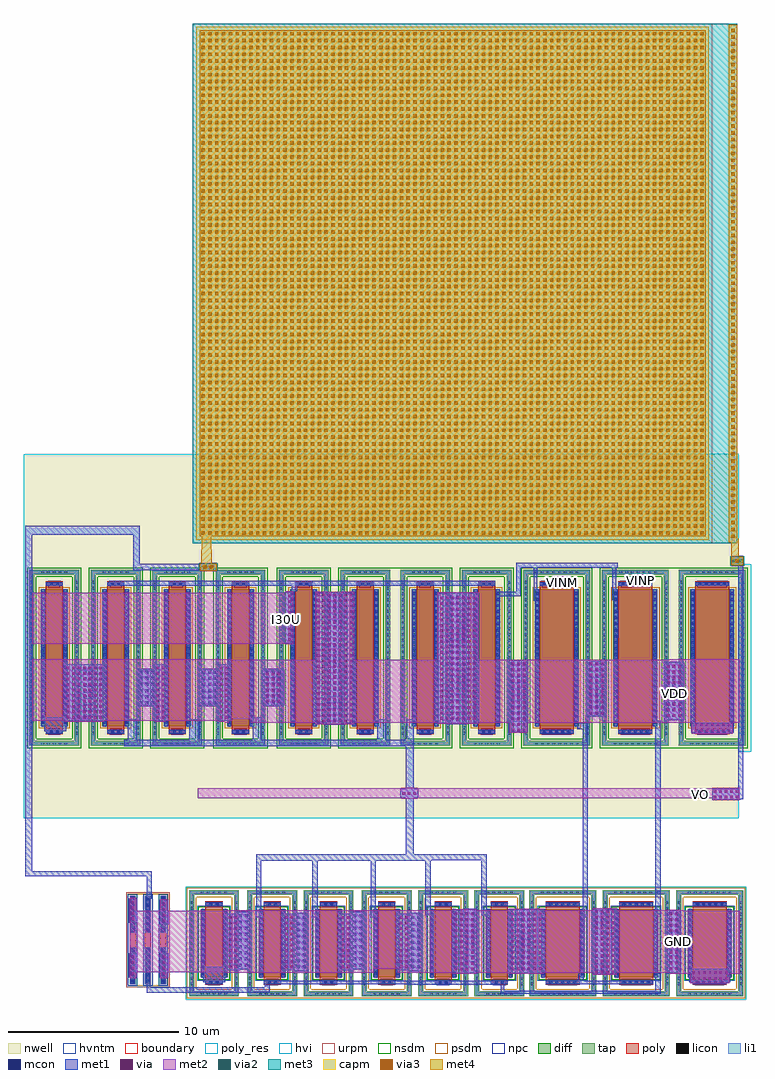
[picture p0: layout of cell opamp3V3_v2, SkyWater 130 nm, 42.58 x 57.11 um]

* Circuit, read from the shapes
.subckt opamp3V3_v2 GND I30U VDD VINM VINP VO
XM1 GND GND GND GND sky130_fd_pr__nfet_g5v0d10v5 w=4 l=1
XM2 GND n1 VO GND sky130_fd_pr__nfet_g5v0d10v5 w=4 l=1 m=5
XM3 n2 n2 GND GND sky130_fd_pr__nfet_g5v0d10v5 w=4 l=2
XM4 n1 n2 GND GND sky130_fd_pr__nfet_g5v0d10v5 w=4 l=2
XM5 GND GND GND GND sky130_fd_pr__nfet_g5v0d10v5 w=4 l=2
XM6 VDD VDD VDD VDD sky130_fd_pr__pfet_g5v0d10v5 w=8 l=1
XM7 VO I30U VDD VDD sky130_fd_pr__pfet_g5v0d10v5 w=8 l=1 m=5
XM8 VDD I30U I30U VDD sky130_fd_pr__pfet_g5v0d10v5 w=8 l=1
XM9 n3 I30U VDD VDD sky130_fd_pr__pfet_g5v0d10v5 w=8 l=1
XM10 n2 VINM n3 VDD sky130_fd_pr__pfet_g5v0d10v5 w=8 l=2
XM11 n1 VINP n3 VDD sky130_fd_pr__pfet_g5v0d10v5 w=8 l=2
XM12 VDD VDD VDD VDD sky130_fd_pr__pfet_g5v0d10v5 w=8 l=2
XC13 n4 VO sky130_fd_pr__cap_mim_m3_1 w=30 l=30
XR14 GND GND GND sky130_fd_pr__res_xhigh_po w=0.35 l=0.88 m=2
XR15 n4 n1 GND sky130_fd_pr__res_xhigh_po w=0.35 l=0.88
.ends

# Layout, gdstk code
import gdstk
lib = gdstk.Library(unit=1e-6, precision=1e-09)
def R(c, l, rs):  # rectangles x0, y0, x1, y1
    for r in rs: c.add(gdstk.rectangle(r[:2], r[2:], *l))
def A(c, l, x, y, w, h, nx, ny, dx, dy):  # array of equal rectangles
    R(c, l, [(x+i*dx, y+j*dy, x+i*dx+w, y+j*dy+h) for i in range(nx) for j in range(ny)])
nwell = (64, 20)
diff = (65, 20)
tap = (65, 44)
poly_res = (66, 13)
poly = (66, 20)
licon = (66, 44)
li1 = (67, 20)
mcon = (67, 44)
met1 = (68, 20)
via = (68, 44)
met2 = (69, 20)
via2 = (69, 44)
met3 = (70, 20)
via3 = (70, 44)
met4 = (71, 20)
hvi = (75, 20)
urpm = (79, 20)
capm = (89, 44)
nsdm = (93, 44)
psdm = (94, 20)
npc = (95, 20)
hvntm = (125, 20)
boundary = (235, 4)

sky130_fd_pr__res_xhigh_ = lib.new_cell('sky130_fd_pr__res_xhigh_po_0p35_H76GPG')
R(sky130_fd_pr__res_xhigh_, poly_res, [(-0.175,-0.5,0.175,0.5)])
R(sky130_fd_pr__res_xhigh_, poly, [(-0.175,-2.58,0.175,2.58)])
R(sky130_fd_pr__res_xhigh_, licon, [(-0.095,-2.5,0.095,-0.5), (-0.095,0.5,0.095,2.5)])
R(sky130_fd_pr__res_xhigh_, li1, [(-0.175,-2.58,0.175,-0.42), (-0.175,0.42,0.175,2.58)])
A(sky130_fd_pr__res_xhigh_, mcon, -0.085, -2.485, 0.17, 0.17, 1, 6, 0, 0.36)
A(sky130_fd_pr__res_xhigh_, mcon, -0.085, 0.51, 0.17, 0.17, 1, 6, 0, 0.36)
R(sky130_fd_pr__res_xhigh_, met1, [(-0.125,-2.55,0.125,-0.445), (-0.125,0.445,0.125,2.55)])
R(sky130_fd_pr__res_xhigh_, urpm, [(-0.375,-2.78,0.375,2.78)])
R(sky130_fd_pr__res_xhigh_, psdm, [(-0.285,-2.69,0.285,2.69)])
R(sky130_fd_pr__res_xhigh_, npc, [(-0.27,-2.675,0.27,2.675)])

c_sky130_fd_pr__res_xhigh_ = lib.new_cell('sky130_fd_pr__res_xhigh_po_0p35_H76GPQ')
R(c_sky130_fd_pr__res_xhigh_, poly_res, [(-0.175,-0.5,0.175,0.5)])
R(c_sky130_fd_pr__res_xhigh_, poly, [(-0.175,-2.58,0.175,2.58)])
R(c_sky130_fd_pr__res_xhigh_, licon, [(-0.095,-2.5,0.095,-0.5), (-0.095,0.5,0.095,2.5)])
R(c_sky130_fd_pr__res_xhigh_, li1, [(-0.175,-2.58,0.175,-0.42), (-0.175,0.42,0.175,2.58)])
A(c_sky130_fd_pr__res_xhigh_, mcon, -0.085, -2.485, 0.17, 0.17, 1, 6, 0, 0.36)
A(c_sky130_fd_pr__res_xhigh_, mcon, -0.085, 0.51, 0.17, 0.17, 1, 6, 0, 0.36)
R(c_sky130_fd_pr__res_xhigh_, met1, [(-0.125,-2.55,0.125,-0.445), (-0.125,0.445,0.125,2.55)])
R(c_sky130_fd_pr__res_xhigh_, urpm, [(-0.375,-2.78,0.375,2.78)])
R(c_sky130_fd_pr__res_xhigh_, psdm, [(-0.285,-2.69,0.285,2.69)])
R(c_sky130_fd_pr__res_xhigh_, npc, [(-0.27,-2.675,0.27,2.675)])

sky130_fd_pr__nfet_g5v0d = lib.new_cell('sky130_fd_pr__nfet_g5v0d10v5_WVAQGW')
R(sky130_fd_pr__nfet_g5v0d, diff, [(-0.79,-2,0.79,2)])
R(sky130_fd_pr__nfet_g5v0d, tap, [(-1.46,-3.11,1.46,-2.82), (-1.46,-2.82,-1.17,2.82), (1.17,-2.82,1.46,2.82), (-1.46,2.82,1.46,3.11)])
R(sky130_fd_pr__nfet_g5v0d, poly, [(-0.5,-2.44,0.5,2.44)])
A(sky130_fd_pr__nfet_g5v0d, licon, -0.765, -3.05, 0.17, 0.17, 5, 2, 0.34, 5.93)
A(sky130_fd_pr__nfet_g5v0d, licon, -1.4, -2.465, 0.17, 0.17, 1, 15, 0, 0.34)
A(sky130_fd_pr__nfet_g5v0d, licon, 1.23, -2.465, 0.17, 0.17, 1, 15, 0, 0.34)
A(sky130_fd_pr__nfet_g5v0d, licon, -0.73, -1.785, 0.17, 0.17, 1, 11, 0, 0.34)
A(sky130_fd_pr__nfet_g5v0d, licon, 0.56, -1.785, 0.17, 0.17, 1, 11, 0, 0.34)
R(sky130_fd_pr__nfet_g5v0d, licon, [(-0.255,-2.36,-0.085,-2.19), (0.085,-2.36,0.255,-2.19), (-0.255,2.19,-0.085,2.36), (0.085,2.19,0.255,2.36)])
R(sky130_fd_pr__nfet_g5v0d, li1, [(-1.4,-3.05,1.4,-2.88), (-1.4,-2.88,-1.23,2.88), (1.23,-2.88,1.4,2.88), (-0.5,-2.36,0.5,-2.19), (-0.73,-2.02,-0.56,2.02), (0.56,-2.02,0.73,2.02), (-0.5,2.19,0.5,2.36), (-1.4,2.88,1.4,3.05)])
A(sky130_fd_pr__nfet_g5v0d, mcon, -0.73, -1.885, 0.17, 0.17, 1, 11, 0, 0.36)
A(sky130_fd_pr__nfet_g5v0d, mcon, 0.56, -1.885, 0.17, 0.17, 1, 11, 0, 0.36)
R(sky130_fd_pr__nfet_g5v0d, mcon, [(-0.265,-2.36,-0.095,-2.19), (0.095,-2.36,0.265,-2.19), (-0.265,2.19,-0.095,2.36), (0.095,2.19,0.265,2.36)])
R(sky130_fd_pr__nfet_g5v0d, met1, [(-0.48,-2.39,0.48,-2.16), (-0.76,-2,-0.53,2), (0.53,-2,0.76,2), (-0.48,2.16,0.48,2.39)])
R(sky130_fd_pr__nfet_g5v0d, hvi, [(-1.645,-3.295,1.645,3.295)])
R(sky130_fd_pr__nfet_g5v0d, nsdm, [(-0.915,-2.125,0.915,2.125)])
R(sky130_fd_pr__nfet_g5v0d, psdm, [(-1.585,-3.235,1.585,-2.695), (-1.585,-2.695,-1.045,2.695), (1.045,-2.695,1.585,2.695), (-1.585,2.695,1.585,3.235)])
R(sky130_fd_pr__nfet_g5v0d, npc, [(-0.355,-2.46,0.355,-2.09), (-0.355,2.09,0.355,2.46)])
R(sky130_fd_pr__nfet_g5v0d, hvntm, [(-0.975,-2.185,0.975,2.185)])
R(sky130_fd_pr__nfet_g5v0d, boundary, [(-1.31,-2.96,1.31,2.96)])

c_sky130_fd_pr__nfet_g5v0d = lib.new_cell('sky130_fd_pr__nfet_g5v0d10v5_WVW7CW')
R(c_sky130_fd_pr__nfet_g5v0d, diff, [(-1.29,-2,1.29,2)])
R(c_sky130_fd_pr__nfet_g5v0d, tap, [(-1.96,-3.11,1.96,-2.82), (-1.96,-2.82,-1.67,2.82), (1.67,-2.82,1.96,2.82), (-1.96,2.82,1.96,3.11)])
R(c_sky130_fd_pr__nfet_g5v0d, poly, [(-1,-2.44,1,2.44)])
A(c_sky130_fd_pr__nfet_g5v0d, licon, -1.275, -3.05, 0.17, 0.17, 8, 2, 0.34, 5.93)
A(c_sky130_fd_pr__nfet_g5v0d, licon, -1.9, -2.465, 0.17, 0.17, 1, 15, 0, 0.34)
A(c_sky130_fd_pr__nfet_g5v0d, licon, 1.73, -2.465, 0.17, 0.17, 1, 15, 0, 0.34)
A(c_sky130_fd_pr__nfet_g5v0d, licon, -0.765, -2.36, 0.17, 0.17, 5, 2, 0.34, 4.55)
A(c_sky130_fd_pr__nfet_g5v0d, licon, -1.23, -1.785, 0.17, 0.17, 1, 11, 0, 0.34)
A(c_sky130_fd_pr__nfet_g5v0d, licon, 1.06, -1.785, 0.17, 0.17, 1, 11, 0, 0.34)
R(c_sky130_fd_pr__nfet_g5v0d, li1, [(-1.9,-3.05,1.9,-2.88), (-1.9,-2.88,-1.73,2.88), (1.73,-2.88,1.9,2.88), (-1,-2.36,1,-2.19), (-1.23,-2.02,-1.06,2.02), (1.06,-2.02,1.23,2.02), (-1,2.19,1,2.36), (-1.9,2.88,1.9,3.05)])
A(c_sky130_fd_pr__nfet_g5v0d, mcon, -0.805, -2.36, 0.17, 0.17, 5, 2, 0.36, 4.55)
A(c_sky130_fd_pr__nfet_g5v0d, mcon, -1.23, -1.885, 0.17, 0.17, 1, 11, 0, 0.36)
A(c_sky130_fd_pr__nfet_g5v0d, mcon, 1.06, -1.885, 0.17, 0.17, 1, 11, 0, 0.36)
R(c_sky130_fd_pr__nfet_g5v0d, met1, [(-0.98,-2.39,0.98,-2.16), (-1.26,-2,-1.03,2), (1.03,-2,1.26,2), (-0.98,2.16,0.98,2.39)])
R(c_sky130_fd_pr__nfet_g5v0d, hvi, [(-2.145,-3.295,2.145,3.295)])
R(c_sky130_fd_pr__nfet_g5v0d, nsdm, [(-1.415,-2.125,1.415,2.125)])
R(c_sky130_fd_pr__nfet_g5v0d, psdm, [(-2.085,-3.235,2.085,-2.695), (-2.085,-2.695,-1.545,2.695), (1.545,-2.695,2.085,2.695), (-2.085,2.695,2.085,3.235)])
R(c_sky130_fd_pr__nfet_g5v0d, npc, [(-0.865,-2.46,0.865,-2.09), (-0.865,2.09,0.865,2.46)])
R(c_sky130_fd_pr__nfet_g5v0d, hvntm, [(-1.475,-2.185,1.475,2.185)])
R(c_sky130_fd_pr__nfet_g5v0d, boundary, [(-1.81,-2.96,1.81,2.96)])

sky130_fd_pr__pfet_g5v0d = lib.new_cell('sky130_fd_pr__pfet_g5v0d10v5_FG5HVM')
R(sky130_fd_pr__pfet_g5v0d, nwell, [(-1.79,-5.485,1.79,5.485)])
R(sky130_fd_pr__pfet_g5v0d, diff, [(-0.79,-4,0.79,4)])
R(sky130_fd_pr__pfet_g5v0d, tap, [(-1.46,-5.155,1.46,-4.865), (-1.46,-4.865,-1.17,4.865), (1.17,-4.865,1.46,4.865), (-1.46,4.865,1.46,5.155)])
R(sky130_fd_pr__pfet_g5v0d, poly, [(-0.5,-4.485,0.5,4.485)])
A(sky130_fd_pr__pfet_g5v0d, licon, -0.765, -5.095, 0.17, 0.17, 5, 2, 0.34, 10.02)
A(sky130_fd_pr__pfet_g5v0d, licon, -1.4, -4.505, 0.17, 0.17, 1, 27, 0, 0.34)
A(sky130_fd_pr__pfet_g5v0d, licon, 1.23, -4.505, 0.17, 0.17, 1, 27, 0, 0.34)
A(sky130_fd_pr__pfet_g5v0d, licon, -0.73, -3.825, 0.17, 0.17, 1, 23, 0, 0.34)
A(sky130_fd_pr__pfet_g5v0d, licon, 0.56, -3.825, 0.17, 0.17, 1, 23, 0, 0.34)
R(sky130_fd_pr__pfet_g5v0d, licon, [(-0.255,-4.405,-0.085,-4.235), (0.085,-4.405,0.255,-4.235), (-0.255,4.235,-0.085,4.405), (0.085,4.235,0.255,4.405)])
R(sky130_fd_pr__pfet_g5v0d, li1, [(-1.4,-5.095,1.4,-4.925), (-1.4,-4.925,-1.23,4.925), (1.23,-4.925,1.4,4.925), (-0.5,-4.405,0.5,-4.235), (-0.73,-4.02,-0.56,4.02), (0.56,-4.02,0.73,4.02), (-0.5,4.235,0.5,4.405), (-1.4,4.925,1.4,5.095)])
A(sky130_fd_pr__pfet_g5v0d, mcon, -0.73, -3.865, 0.17, 0.17, 1, 22, 0, 0.36)
A(sky130_fd_pr__pfet_g5v0d, mcon, 0.56, -3.865, 0.17, 0.17, 1, 22, 0, 0.36)
R(sky130_fd_pr__pfet_g5v0d, mcon, [(-0.265,-4.405,-0.095,-4.235), (0.095,-4.405,0.265,-4.235), (-0.265,4.235,-0.095,4.405), (0.095,4.235,0.265,4.405)])
R(sky130_fd_pr__pfet_g5v0d, met1, [(-0.48,-4.435,0.48,-4.205), (-0.76,-4,-0.53,4), (0.53,-4,0.76,4), (-0.48,4.205,0.48,4.435)])
R(sky130_fd_pr__pfet_g5v0d, hvi, [(-1.79,-5.485,1.79,5.485)])
R(sky130_fd_pr__pfet_g5v0d, nsdm, [(-1.585,-5.28,1.585,-4.74), (-1.585,-4.74,-1.045,4.74), (1.045,-4.74,1.585,4.74), (-1.585,4.74,1.585,5.28)])
R(sky130_fd_pr__pfet_g5v0d, psdm, [(-0.915,-4.125,0.915,4.125)])
R(sky130_fd_pr__pfet_g5v0d, npc, [(-0.355,-4.505,0.355,-4.135), (-0.355,4.135,0.355,4.505)])
R(sky130_fd_pr__pfet_g5v0d, boundary, [(-1.315,-5.01,1.315,5.01)])

c_sky130_fd_pr__pfet_g5v0d = lib.new_cell('sky130_fd_pr__pfet_g5v0d10v5_473EVV')
R(c_sky130_fd_pr__pfet_g5v0d, nwell, [(-2.29,-5.485,2.29,5.485)])
R(c_sky130_fd_pr__pfet_g5v0d, diff, [(-1.29,-4,1.29,4)])
R(c_sky130_fd_pr__pfet_g5v0d, tap, [(-1.96,-5.155,1.96,-4.865), (-1.96,-4.865,-1.67,4.865), (1.67,-4.865,1.96,4.865), (-1.96,4.865,1.96,5.155)])
R(c_sky130_fd_pr__pfet_g5v0d, poly, [(-1,-4.485,1,4.485)])
A(c_sky130_fd_pr__pfet_g5v0d, licon, -1.275, -5.095, 0.17, 0.17, 8, 2, 0.34, 10.02)
A(c_sky130_fd_pr__pfet_g5v0d, licon, -1.9, -4.505, 0.17, 0.17, 1, 27, 0, 0.34)
A(c_sky130_fd_pr__pfet_g5v0d, licon, 1.73, -4.505, 0.17, 0.17, 1, 27, 0, 0.34)
A(c_sky130_fd_pr__pfet_g5v0d, licon, -0.765, -4.405, 0.17, 0.17, 5, 2, 0.34, 8.64)
A(c_sky130_fd_pr__pfet_g5v0d, licon, -1.23, -3.825, 0.17, 0.17, 1, 23, 0, 0.34)
A(c_sky130_fd_pr__pfet_g5v0d, licon, 1.06, -3.825, 0.17, 0.17, 1, 23, 0, 0.34)
R(c_sky130_fd_pr__pfet_g5v0d, li1, [(-1.9,-5.095,1.9,-4.925), (-1.9,-4.925,-1.73,4.925), (1.73,-4.925,1.9,4.925), (-1,-4.405,1,-4.235), (-1.23,-4.02,-1.06,4.02), (1.06,-4.02,1.23,4.02), (-1,4.235,1,4.405), (-1.9,4.925,1.9,5.095)])
A(c_sky130_fd_pr__pfet_g5v0d, mcon, -0.805, -4.405, 0.17, 0.17, 5, 2, 0.36, 8.64)
A(c_sky130_fd_pr__pfet_g5v0d, mcon, -1.23, -3.865, 0.17, 0.17, 1, 22, 0, 0.36)
A(c_sky130_fd_pr__pfet_g5v0d, mcon, 1.06, -3.865, 0.17, 0.17, 1, 22, 0, 0.36)
R(c_sky130_fd_pr__pfet_g5v0d, met1, [(-0.98,-4.435,0.98,-4.205), (-1.26,-4,-1.03,4), (1.03,-4,1.26,4), (-0.98,4.205,0.98,4.435)])
R(c_sky130_fd_pr__pfet_g5v0d, hvi, [(-2.29,-5.485,2.29,5.485)])
R(c_sky130_fd_pr__pfet_g5v0d, nsdm, [(-2.085,-5.28,2.085,-4.74), (-2.085,-4.74,-1.545,4.74), (1.545,-4.74,2.085,4.74), (-2.085,4.74,2.085,5.28)])
R(c_sky130_fd_pr__pfet_g5v0d, psdm, [(-1.415,-4.125,1.415,4.125)])
R(c_sky130_fd_pr__pfet_g5v0d, npc, [(-0.865,-4.505,0.865,-4.135), (-0.865,4.135,0.865,4.505)])
R(c_sky130_fd_pr__pfet_g5v0d, boundary, [(-1.815,-5.01,1.815,5.01)])

sky130_fd_pr__cap_mim_m3 = lib.new_cell('sky130_fd_pr__cap_mim_m3_1_3HBNLG')
R(sky130_fd_pr__cap_mim_m3, met3, [(-15.93,-15.2,15.93,15.2)])
A(sky130_fd_pr__cap_mim_m3, via3, 15.57, -14.9, 0.2, 0.2, 1, 75, 0, 0.4)
A(sky130_fd_pr__cap_mim_m3, via3, -15.43, -14.7, 0.2, 0.2, 74, 74, 0.4, 0.4)
R(sky130_fd_pr__cap_mim_m3, met4, [(15.43,-15.14,15.91,15.14), (-15.535,-14.805,14.075,14.805)])
R(sky130_fd_pr__cap_mim_m3, capm, [(-15.73,-15,14.27,15)])
R(sky130_fd_pr__cap_mim_m3, boundary, [(-15.93,-15.2,14.47,15.2)])

opamp3v3_v2 = lib.new_cell('opamp3V3_v2')
R(opamp3v3_v2, nwell, [(-10.1,-16.2,31.74,5.1), (0.09,5.1,31.74,5.13)])
R(opamp3v3_v2, li1, [(15.63,-25.24,16.39,-21.56), (18.91,-25.24,19.66,-21.56), (23.19,-25.24,23.96,-21.54), (27.6,-25.2,28.3,-21.6), (5.8,-25.1,6.5,-21.8), (12.5,-25.1,13.2,-21.8), (2.4,-25,3.1,-21.7), (9.1,-25,9.8,-21.7), (7.53,-10.67,8.68,-3), (14.74,-10.65,15.83,-3.04), (18.34,-10.55,19.37,-6.98), (-7,-10.4,-6,-7.5), (27.4,-10.4,28.5,-7.1), (22.93,-10.21,23.96,-7), (-3.4,-9.6,-2.4,-7.5), (0.2,-9.6,1.4,-7.5), (3.9,-9.6,5.1,-7.5)])
A(opamp3v3_v2, mcon, 15.745, -25.105, 0.17, 0.17, 1, 10, 0, 0.36)
A(opamp3v3_v2, mcon, 16.105, -25.105, 0.17, 0.17, 1, 10, 0, 0.36)
A(opamp3v3_v2, mcon, 19.02, -25.105, 0.17, 0.17, 1, 10, 0, 0.36)
A(opamp3v3_v2, mcon, 19.38, -25.105, 0.17, 0.17, 1, 10, 0, 0.36)
A(opamp3v3_v2, mcon, 27.685, -25.105, 0.17, 0.17, 1, 10, 0, 0.36)
A(opamp3v3_v2, mcon, 28.045, -25.105, 0.17, 0.17, 1, 10, 0, 0.36)
A(opamp3v3_v2, mcon, 23.31, -25.095, 0.17, 0.17, 1, 10, 0, 0.36)
A(opamp3v3_v2, mcon, 23.67, -25.095, 0.17, 0.17, 1, 10, 0, 0.36)
A(opamp3v3_v2, mcon, 5.885, -24.975, 0.17, 0.17, 1, 9, 0, 0.36)
A(opamp3v3_v2, mcon, 6.245, -24.975, 0.17, 0.17, 1, 9, 0, 0.36)
A(opamp3v3_v2, mcon, 12.585, -24.975, 0.17, 0.17, 1, 9, 0, 0.36)
A(opamp3v3_v2, mcon, 12.945, -24.975, 0.17, 0.17, 1, 9, 0, 0.36)
A(opamp3v3_v2, mcon, 2.485, -24.875, 0.17, 0.17, 1, 9, 0, 0.36)
A(opamp3v3_v2, mcon, 2.845, -24.875, 0.17, 0.17, 1, 9, 0, 0.36)
A(opamp3v3_v2, mcon, 9.185, -24.875, 0.17, 0.17, 1, 9, 0, 0.36)
A(opamp3v3_v2, mcon, 9.545, -24.875, 0.17, 0.17, 1, 9, 0, 0.36)
A(opamp3v3_v2, mcon, 14.84, -10.53, 0.17, 0.17, 3, 21, 0.36, 0.36)
A(opamp3v3_v2, mcon, 7.66, -10.52, 0.17, 0.17, 3, 21, 0.36, 0.36)
A(opamp3v3_v2, mcon, 18.41, -10.47, 0.17, 0.17, 3, 10, 0.36, 0.36)
A(opamp3v3_v2, mcon, -6.945, -10.295, 0.17, 0.17, 3, 8, 0.36, 0.36)
A(opamp3v3_v2, mcon, 27.505, -10.275, 0.17, 0.17, 3, 9, 0.36, 0.36)
A(opamp3v3_v2, mcon, 23, -10.13, 0.17, 0.17, 3, 9, 0.36, 0.36)
A(opamp3v3_v2, mcon, -3.345, -9.535, 0.17, 0.17, 3, 6, 0.36, 0.36)
A(opamp3v3_v2, mcon, 0.355, -9.535, 0.17, 0.17, 3, 6, 0.36, 0.36)
A(opamp3v3_v2, mcon, 4.055, -9.535, 0.17, 0.17, 3, 6, 0.36, 0.36)
R(opamp3v3_v2, met1, [(17.81,-26.48,27.18,-26.29), (-2.9,-26.4,4.3,-26.1), (17.81,-26.29,18.03,-25.95), (26.87,-26.29,27.18,-25.28), (-2.9,-26.1,-2.7,-25.5), (4,-26.1,4.3,-25.9), (12.5,-25.95,18.04,-25.9), (4,-25.9,18.04,-25.71), (20.53,-25.9,26.65,-25.7), (0.4,-25.8,1.7,-24.9), (28.85,-25.8,31.25,-25), (4,-25.71,12.7,-25.7), (22.36,-25.7,22.68,-25.31), (-3.95,-25.5,-3.45,-24.1), (-2.15,-25.5,-1.65,-24.1), (23.16,-25.32,24.66,-21.53), (15.6,-25.3,16.42,-25.26), (18.88,-25.3,19.69,-25.26), (14.96,-25.26,16.42,-21.57), (18.23,-25.26,20.38,-21.55), (27.57,-25.26,28.33,-25.2), (27.55,-25.2,28.35,-21.6), (5.77,-25.16,6.53,-25.1), (12.47,-25.16,13.23,-25.1), (1.75,-25.1,2.55,-25.06), (5.05,-25.1,6.53,-21.8), (8.35,-25.1,9.15,-25.06), (11.75,-25.1,13.23,-21.8), (1.75,-25.06,3.13,-21.8), (8.35,-25.06,9.83,-21.8), (-2.15,-22.4,-1.65,-21), (-3.95,-22.3,-3.45,-20.9), (3.5,-22,3.8,-18.7), (6.8,-22,7.1,-18.7), (10.2,-22,10.5,-18.7), (22.6,-22,22.9,-11), (16.68,-21.89,17,-18.67), (13.41,-21.88,13.73,-18.68), (26.87,-21.82,27.17,-10.5), (2.37,-21.8,3.13,-21.64), (5.77,-21.8,6.53,-21.74), (9.07,-21.8,9.83,-21.64), (12.47,-21.8,13.23,-21.74), (27.57,-21.6,28.33,-21.54), (15.6,-21.57,16.42,-21.5), (18.88,-21.55,19.69,-21.5), (23.16,-21.53,23.99,-21.48), (-2.9,-20.9,-2.6,-19.6), (-10,-19.6,-2.6,-19.3), (-10,-19.3,-9.6,0.4), (3.5,-18.7,12.6,-18.68), (3.5,-18.68,13.74,-18.67), (3.5,-18.67,17,-18.32), (3.5,-18.32,13.74,-18.31), (16.68,-18.32,17,-18.31), (3.5,-18.31,12.72,-18.3), (13.41,-18.31,13.73,-18.3), (12.25,-18.3,12.72,-15.01), (30.18,-15.11,31.82,-15.1), (30.18,-15.1,32,-14.46), (11.93,-15.01,12.99,-14.47), (12.25,-14.47,12.72,-12), (31.7,-14.46,32,-1.4), (-4.2,-12,12.72,-11.6), (-4,-11.6,-3.5,-10.4), (-0.4,-11.6,0.2,-10.4), (3.3,-11.6,3.8,-10.3), (10.6,-11.6,11.1,-10.4), (12.25,-11.6,12.72,-10.78), (28.95,-11.2,31.45,-10.6), (18.28,-11.16,19.41,-7.06), (-8.9,-11.1,-7.6,-10.5), (22.3,-11,22.9,-10.6), (5.59,-10.82,5.75,-10.62), (12.3,-10.78,12.7,-10.4), (7.5,-10.73,8.71,-10.65), (14.71,-10.71,15.86,-10.63), (6.91,-10.65,9.29,-3.01), (14.04,-10.63,16.57,-3.03), (-8.9,-10.5,-5.35,-10.3), (-2.45,-10.5,-1.75,-9.66), (1.25,-10.5,1.95,-9.66), (27.37,-10.46,28.53,-10.4), (27.35,-10.4,28.55,-7.1), (-7.75,-10.3,-5.35,-7.2), (22.9,-10.27,23.99,-10.22), (22.86,-10.22,23.99,-7), (-3.43,-9.66,-1.75,-7.44), (0.17,-9.66,1.95,-7.44), (3.87,-9.66,5.13,-9.6), (3.85,-9.6,5.15,-7.5), (3.87,-7.5,5.13,-7.44), (-2.45,-7.44,-1.75,-7.2), (1.25,-7.44,1.95,-7.2), (27.37,-7.1,28.53,-7.04), (18.31,-7.06,19.4,-6.92), (22.9,-7,23.99,-6.94), (5.15,-5.97,5.74,-2.98), (19.96,-5.7,20.01,-5.6), (24.63,-5.65,24.68,-5.6), (20,-5.6,20.05,-4.1), (24.6,-5.6,24.68,-4.1), (19.96,-4.1,20.01,-4.09), (24.63,-4.1,24.68,-4.04), (19.74,-3.47,19.96,-1.54), (24.35,-3.45,24.57,-1.54), (17.64,-3.2,18.98,-2.94), (14.71,-3.03,15.86,-2.98), (7.5,-3.01,8.71,-2.94), (18.73,-2.94,18.98,-1.54), (5.58,-2.92,5.9,-2.61), (20.85,-2.7,21.95,-2.1), (5.58,-2.61,17.48,-2.6), (-5.1,-2.6,17.48,-2.31), (25.45,-2.6,26.55,-2), (-5.1,-2.31,6.7,-2.3), (-3.7,-1.7,1.25,-1.3), (18.71,-1.54,24.66,-1.25), (31.25,-1.4,32.05,-0.9), (-3.7,-1.3,-3.3,0.4), (-10,0.4,-3.3,0.9)])
A(opamp3v3_v2, via, 29.015, -25.635, 0.15, 0.15, 7, 2, 0.32, 0.32)
A(opamp3v3_v2, via, -3.775, -25.355, 0.15, 0.15, 1, 4, 0, 0.32)
A(opamp3v3_v2, via, -1.975, -25.355, 0.15, 0.15, 1, 4, 0, 0.32)
A(opamp3v3_v2, via, 23.355, -25.26, 0.15, 0.15, 4, 12, 0.32, 0.32)
A(opamp3v3_v2, via, 15.135, -25.09, 0.15, 0.15, 4, 11, 0.32, 0.32)
A(opamp3v3_v2, via, 18.43, -25.08, 0.15, 0.15, 6, 11, 0.32, 0.32)
A(opamp3v3_v2, via, 27.715, -25.075, 0.15, 0.15, 1, 11, 0, 0.32)
A(opamp3v3_v2, via, 28.035, -25.075, 0.15, 0.15, 1, 11, 0, 0.32)
A(opamp3v3_v2, via, 1.915, -24.965, 0.15, 0.15, 1, 10, 0, 0.32)
A(opamp3v3_v2, via, 2.235, -24.965, 0.15, 0.15, 1, 10, 0, 0.32)
A(opamp3v3_v2, via, 5.215, -24.965, 0.15, 0.15, 1, 10, 0, 0.32)
A(opamp3v3_v2, via, 5.535, -24.965, 0.15, 0.15, 1, 10, 0, 0.32)
A(opamp3v3_v2, via, 8.515, -24.965, 0.15, 0.15, 1, 10, 0, 0.32)
A(opamp3v3_v2, via, 8.835, -24.965, 0.15, 0.15, 1, 10, 0, 0.32)
A(opamp3v3_v2, via, 11.915, -24.965, 0.15, 0.15, 1, 10, 0, 0.32)
A(opamp3v3_v2, via, 12.235, -24.965, 0.15, 0.15, 1, 10, 0, 0.32)
A(opamp3v3_v2, via, -1.975, -22.255, 0.15, 0.15, 1, 4, 0, 0.32)
A(opamp3v3_v2, via, -3.775, -22.155, 0.15, 0.15, 1, 4, 0, 0.32)
A(opamp3v3_v2, via, 30.285, -15.02, 0.15, 0.15, 5, 2, 0.32, 0.32)
A(opamp3v3_v2, via, 12.065, -14.815, 0.15, 0.15, 3, 1, 0.32, 0)
A(opamp3v3_v2, via, 29.165, -11.135, 0.15, 0.15, 7, 2, 0.32, 0.32)
A(opamp3v3_v2, via, 18.45, -11.105, 0.15, 0.15, 3, 13, 0.32, 0.32)
A(opamp3v3_v2, via, 7.065, -10.585, 0.15, 0.15, 7, 24, 0.32, 0.32)
A(opamp3v3_v2, via, 14.27, -10.425, 0.15, 0.15, 7, 23, 0.32, 0.32)
A(opamp3v3_v2, via, -7.585, -10.365, 0.15, 0.15, 7, 10, 0.32, 0.32)
A(opamp3v3_v2, via, -2.335, -10.365, 0.15, 0.15, 1, 10, 0, 0.32)
A(opamp3v3_v2, via, -2.015, -10.365, 0.15, 0.15, 1, 10, 0, 0.32)
A(opamp3v3_v2, via, 1.365, -10.365, 0.15, 0.15, 1, 10, 0, 0.32)
A(opamp3v3_v2, via, 1.685, -10.365, 0.15, 0.15, 1, 10, 0, 0.32)
A(opamp3v3_v2, via, 27.555, -10.265, 0.15, 0.15, 3, 10, 0.32, 0.32)
A(opamp3v3_v2, via, 23.015, -10.125, 0.15, 0.15, 3, 10, 0.32, 0.32)
A(opamp3v3_v2, via, 4.105, -9.425, 0.15, 0.15, 3, 6, 0.32, 0.32)
A(opamp3v3_v2, via, 5.37, -5.83, 0.15, 0.15, 1, 9, 0, 0.32)
A(opamp3v3_v2, via, 21.005, -2.635, 0.15, 0.15, 3, 2, 0.32, 0.32)
A(opamp3v3_v2, via, 25.605, -2.535, 0.15, 0.15, 3, 2, 0.32, 0.32)
A(opamp3v3_v2, via, 0.305, -1.575, 0.15, 0.15, 3, 1, 0.32, 0)
R(opamp3v3_v2, via, [(31.415,-1.225,31.565,-1.075), (31.735,-1.225,31.885,-1.075)])
R(opamp3v3_v2, met2, [(28.9,-25.85,31.2,-25.3), (-3.9,-25.55,-3.5,-25.2), (-2.1,-25.55,-1.7,-25.2), (23.21,-25.37,24.61,-25.25), (15.01,-25.31,16.37,-25.25), (18.28,-25.31,20.33,-25.25), (27.7,-25.3,31.8,-25.25), (1.72,-25.25,10.4,-25.2), (11.8,-25.25,31.8,-25), (-3.9,-25.2,10.4,-25), (-3.9,-25,31.8,-21.6), (-3.9,-21.6,-3.5,-20.85), (-2.1,-21.6,-1.7,-20.95), (1.72,-21.6,28.5,-21.57), (15.01,-21.57,16.37,-21.52), (18.28,-21.57,20.33,-21.5), (23.21,-21.57,24.61,-21.48), (27.6,-21.57,28.3,-21.55), (30.23,-15.16,31.77,-15.03), (11.98,-15.06,12.94,-15.03), (0.1,-15.03,31.77,-14.44), (11.98,-14.44,12.94,-14.42), (30.23,-14.44,31.77,-14.41), (29,-11.25,31.4,-10.6), (18.33,-11.21,19.36,-10.61), (6.96,-10.7,9.24,-10.61), (14.09,-10.68,16.52,-10.61), (1.67,-10.61,1.9,-10.55), (3.2,-10.61,28.45,-10.6), (3.2,-10.6,31.8,-10.4), (-7.7,-10.55,-5.4,-10.5), (-2.4,-10.55,-1.8,-10.5), (1.3,-10.55,1.9,-10.5), (-9.6,-10.5,2.1,-10.4), (-9.6,-10.4,31.8,-6.93), (-9.6,-6.93,2.1,-6.9), (6.96,-6.93,9.24,-2.96), (14.09,-6.93,16.52,-2.98), (27.7,-6.93,31.8,-6.9), (5.2,-6.02,5.69,-6), (-9.6,-6,5.69,-3), (5.2,-3,5.69,-2.93), (20.9,-2.75,21.9,-2.05), (25.5,-2.65,26.5,-1.95), (0.2,-1.75,1.2,-1.25), (31.3,-1.45,32,-0.85)])
R(opamp3v3_v2, via2, [(0.4,-1.6,0.6,-1.4), (0.8,-1.6,1,-1.4), (31.35,-1.25,31.55,-1.05), (31.75,-1.25,31.95,-1.05)])
R(opamp3v3_v2, met3, [(0.15,-1.725,1.25,-1.275), (31.25,-1.425,32.05,-0.875)])
R(opamp3v3_v2, via3, [(0.4,-1.6,0.6,-1.4), (0.8,-1.6,1,-1.4), (31.55,-1.25,31.75,-1.05)])
R(opamp3v3_v2, met4, [(0.195,-1.705,1.205,-1.295), (31.31,-1.41,31.73,-1.405), (31.295,-1.405,32.005,-0.895), (0.3,-1.295,0.9,-0.5), (31.31,-0.895,31.73,0.15), (0.31,-0.5,0.89,0.86)])
R(opamp3v3_v2, hvi, [(2.685,-26.805,2.795,-20.215), (6.085,-26.805,6.095,-20.215), (9.385,-26.805,9.495,-20.215), (12.785,-26.805,12.795,-20.215), (16.085,-26.805,16.095,-20.215), (23.585,-26.805,23.595,-20.215), (27.885,-26.805,27.895,-20.215), (-10.1,-16.2,31.74,-12.3), (-6.52,-12.3,-6.5,-1.33), (-2.92,-12.3,-2.9,-1.33), (0.68,-12.3,0.8,-1.33), (4.38,-12.3,4.5,-1.33), (8.08,-12.3,8.1,-1.33), (15.18,-12.3,15.2,-1.33), (18.78,-12.3,18.8,-1.33), (23.38,-12.3,23.4,-1.33), (-10.1,-1.33,31.74,5.1), (0.09,5.1,31.74,5.13)])
R(opamp3v3_v2, urpm, [(-3.35,-26.1,-3.2,-20.54), (-2.45,-26.1,-2.3,-20.54)])
R(opamp3v3_v2, nsdm, [(11.475,-12.095,11.805,-1.535), (27.775,-12.095,28.105,-1.535)])
R(opamp3v3_v2, psdm, [(2.625,-26.745,2.855,-20.275), (6.025,-26.745,6.155,-20.275), (9.325,-26.745,9.555,-20.275), (12.725,-26.745,12.855,-20.275), (16.025,-26.745,16.155,-20.275), (19.325,-26.745,19.355,-20.275), (23.525,-26.745,23.655,-20.275), (27.825,-26.745,27.955,-20.275), (-3.44,-26.01,-3.11,-20.63), (-2.54,-26.01,-2.21,-20.63)])
opamp3v3_v2.add(gdstk.Reference(sky130_fd_pr__res_xhigh_, (-2.825,-23.32)))
opamp3v3_v2.add(gdstk.Reference(c_sky130_fd_pr__res_xhigh_, (-3.725,-23.32)))
opamp3v3_v2.add(gdstk.Reference(c_sky130_fd_pr__res_xhigh_, (-1.925,-23.32)))
opamp3v3_v2.add(gdstk.Reference(sky130_fd_pr__nfet_g5v0d, (1.04,-23.51)))
opamp3v3_v2.add(gdstk.Reference(sky130_fd_pr__nfet_g5v0d, (4.44,-23.51)))
opamp3v3_v2.add(gdstk.Reference(sky130_fd_pr__nfet_g5v0d, (7.74,-23.51)))
opamp3v3_v2.add(gdstk.Reference(sky130_fd_pr__nfet_g5v0d, (14.44,-23.51)))
opamp3v3_v2.add(gdstk.Reference(sky130_fd_pr__nfet_g5v0d, (11.14,-23.51)))
opamp3v3_v2.add(gdstk.Reference(c_sky130_fd_pr__nfet_g5v0d, (21.44,-23.51)))
opamp3v3_v2.add(gdstk.Reference(sky130_fd_pr__nfet_g5v0d, (17.74,-23.51)))
opamp3v3_v2.add(gdstk.Reference(c_sky130_fd_pr__nfet_g5v0d, (25.74,-23.51)))
opamp3v3_v2.add(gdstk.Reference(c_sky130_fd_pr__nfet_g5v0d, (30.04,-23.51)))
opamp3v3_v2.add(gdstk.Reference(sky130_fd_pr__pfet_g5v0d, (-4.71,-6.815)))
opamp3v3_v2.add(gdstk.Reference(sky130_fd_pr__pfet_g5v0d, (-8.31,-6.815)))
opamp3v3_v2.add(gdstk.Reference(sky130_fd_pr__pfet_g5v0d, (-1.11,-6.815)))
opamp3v3_v2.add(gdstk.Reference(sky130_fd_pr__pfet_g5v0d, (2.59,-6.815)))
opamp3v3_v2.add(gdstk.Reference(sky130_fd_pr__pfet_g5v0d, (9.89,-6.815)))
opamp3v3_v2.add(gdstk.Reference(sky130_fd_pr__pfet_g5v0d, (6.29,-6.815)))
opamp3v3_v2.add(gdstk.Reference(sky130_fd_pr__pfet_g5v0d, (13.39,-6.815)))
opamp3v3_v2.add(gdstk.Reference(sky130_fd_pr__pfet_g5v0d, (16.99,-6.815)))
opamp3v3_v2.add(gdstk.Reference(c_sky130_fd_pr__pfet_g5v0d, (21.09,-6.815)))
opamp3v3_v2.add(gdstk.Reference(c_sky130_fd_pr__pfet_g5v0d, (25.69,-6.815)))
opamp3v3_v2.add(gdstk.Reference(c_sky130_fd_pr__pfet_g5v0d, (30.19,-6.815)))
opamp3v3_v2.add(gdstk.Reference(sky130_fd_pr__cap_mim_m3, (15.73,15.1)))
opamp3v3_v2.add(gdstk.Label('VDD', (28,-8.9), layer=69, texttype=5))
opamp3v3_v2.add(gdstk.Label('VO', (29.5,-14.8), layer=69, texttype=5))
opamp3v3_v2.add(gdstk.Label('I30U', (5.3,-4.6), layer=69, texttype=5))
opamp3v3_v2.add(gdstk.Label('VINM', (21.4,-2.4), layer=69, texttype=5))
opamp3v3_v2.add(gdstk.Label('GND', (28.2,-23.4), layer=69, texttype=5))
opamp3v3_v2.add(gdstk.Label('VINP', (26,-2.3), layer=69, texttype=5))

lib.write_gds('opamp3V3_v2.gds')
